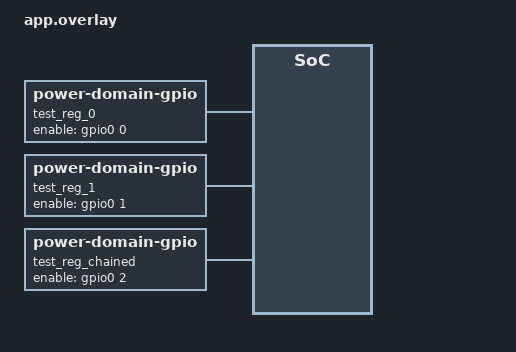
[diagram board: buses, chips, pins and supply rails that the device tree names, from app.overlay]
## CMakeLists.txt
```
# Copyright (c) 2022, CSIRO.
# SPDX-License-Identifier: Apache-2.0

cmake_minimum_required(VERSION 3.28.0)
find_package(Zephyr REQUIRED HINTS $ENV{ZEPHYR_BASE})
project(device_runtime_api)

target_sources(app PRIVATE src/main.c)
```

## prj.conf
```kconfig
# Copyright (c) 2022, Commonwealth Scientific and Industrial Research
# Organisation (CSIRO) ABN 41 687 119 230.
CONFIG_ZTEST=y
CONFIG_PM_DEVICE=y
CONFIG_PM_DEVICE_RUNTIME=y
CONFIG_PM_DEVICE_POWER_DOMAIN=y
CONFIG_MP_MAX_NUM_CPUS=1

CONFIG_GPIO=y
CONFIG_POWER_DOMAIN=y
```

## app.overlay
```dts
/ {
	test_reg_0: test_reg_0 {
		compatible = "power-domain-gpio";
		enable-gpios = <&gpio0 0 0>;
		#power-domain-cells = <0>;
	};

	test_reg_1: test_reg_1 {
		compatible = "power-domain-gpio";
		enable-gpios = <&gpio0 1 0>;
		#power-domain-cells = <0>;
	};

	test_reg_chained: test_reg_chained {
		compatible = "power-domain-gpio";
		enable-gpios = <&gpio0 2 0>;
		power-domains = <&test_reg_0>;
		#power-domain-cells = <0>;
	};

	test_dev: test_dev {
		compatible = "test-device-pm";
		power-domains = <&test_reg_1>;
		alternate-domain = <&test_reg_chained>;
		status = "okay";
	};
};
```

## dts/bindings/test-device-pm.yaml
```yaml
# Copyright (c) 2023, CSIRO
# SPDX-License-Identifier: Apache-2.0

include: [base.yaml, pm.yaml]

description: |
  This binding provides resources required to build and run the
  tests/subsys/pm/device_power_domains test in Zephyr.

compatible: "test-device-pm"

properties:
  alternate-domain:
    type: phandle
    description: Secondary domain the driver uses.
```

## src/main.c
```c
/*
 * Copyright (c) 2022, Commonwealth Scientific and Industrial Research
 * Organisation (CSIRO) ABN 41 687 119 230.
 *
 * SPDX-License-Identifier: Apache-2.0
 */

#include <zephyr/ztest.h>
#include <zephyr/pm/device.h>
#include <zephyr/pm/device_runtime.h>

static int dev_pm_control_resume_ret;
static int dev_pm_control_turn_on_ret;

static int dev_init(const struct device *dev)
{
	if (!pm_device_is_powered(dev)) {
		pm_device_init_off(dev);
	}
	return 0;
}

int dev_pm_control(const struct device *dev, enum pm_device_action action)
{
	ARG_UNUSED(dev);

	int ret = 0;

	switch (action) {
	case PM_DEVICE_ACTION_SUSPEND:
		break;
	case PM_DEVICE_ACTION_RESUME:
		ret = dev_pm_control_resume_ret;
		break;
	case PM_DEVICE_ACTION_TURN_ON:
		ret = dev_pm_control_turn_on_ret;
		break;
	case PM_DEVICE_ACTION_TURN_OFF:
		break;
	default:
		ret = -ENOTSUP;
		break;
	}

	return ret;
}

PM_DEVICE_DT_DEFINE(DT_NODELABEL(test_dev), dev_pm_control);
DEVICE_DT_DEFINE(DT_NODELABEL(test_dev), dev_init, PM_DEVICE_DT_GET(DT_NODELABEL(test_dev)),
		 NULL, NULL, POST_KERNEL, 80, NULL);

ZTEST(device_power_domain, test_device_power_domain)
{
	const struct device *const reg_0 = DEVICE_DT_GET(DT_NODELABEL(test_reg_0));
	const struct device *const reg_1 = DEVICE_DT_GET(DT_NODELABEL(test_reg_1));
	const struct device *const reg_chained = DEVICE_DT_GET(DT_NODELABEL(test_reg_chained));
	const struct device *const dev = DEVICE_DT_GET(DT_NODELABEL(test_dev));
	enum pm_device_state state;

	/* Initial power state */
	zassert_true(pm_device_is_powered(reg_0), "");
	zassert_true(pm_device_is_powered(reg_1), "");
	zassert_true(pm_device_is_powered(reg_chained), "");
	zassert_true(pm_device_is_powered(dev), "");

	TC_PRINT("Enabling runtime power management on regulators\n");

	pm_device_runtime_enable(dev);
	pm_device_runtime_enable(reg_chained);
	pm_device_runtime_enable(reg_1);
	pm_device_runtime_enable(reg_0);

	/* Power domains should now be suspended */
	zassert_true(pm_device_is_powered(reg_0), "");
	zassert_true(pm_device_is_powered(reg_1), "");
	zassert_false(pm_device_is_powered(reg_chained), "");
	zassert_false(pm_device_is_powered(dev), "");
	pm_device_state_get(dev, &state);
	zassert_equal(PM_DEVICE_STATE_OFF, state, "");

	TC_PRINT("Cycling: %s\n", reg_0->name);

	/* reg_chained is powered off reg_0, so it's power state should change */
	pm_device_runtime_get(reg_0);
	zassert_true(pm_device_is_powered(reg_chained), "");
	zassert_false(pm_device_is_powered(dev), "");
	pm_device_runtime_put(reg_0);
	zassert_false(pm_device_is_powered(reg_chained), "");

	TC_PRINT("Cycling: %s\n", reg_1->name);

	pm_device_runtime_get(reg_1);
	zassert_false(pm_device_is_powered(reg_chained), "");
	zassert_true(pm_device_is_powered(dev), "");
	/* dev is on reg_1, should have automatically moved to suspended */
	pm_device_state_get(dev, &state);
	zassert_equal(PM_DEVICE_STATE_SUSPENDED, state, "");
	pm_device_runtime_put(reg_1);
	pm_device_state_get(dev, &state);
	zassert_equal(PM_DEVICE_STATE_OFF, state, "");

	TC_PRINT("Cycling: %s\n", reg_chained->name);

	/* reg_chained should be powered after being requested */
	pm_device_runtime_get(reg_chained);
	zassert_true(pm_device_is_powered(reg_chained), "");
	zassert_false(pm_device_is_powered(dev), "");
	/* dev is not on reg_chained but does reference it, should still be in OFF */
	pm_device_state_get(dev, &state);
	zassert_equal(PM_DEVICE_STATE_OFF, state, "");
	pm_device_runtime_put(reg_chained);

	TC_PRINT("Requesting dev: %s\n", dev->name);

	/* Directly request the supported device */
	pm_device_runtime_get(dev);
	zassert_true(pm_device_is_powered(dev), "");
	pm_device_state_get(dev, &state);
	zassert_equal(PM_DEVICE_STATE_ACTIVE, state, "");
	pm_device_state_get(reg_1, &state);
	zassert_equal(PM_DEVICE_STATE_ACTIVE, state, "");
	pm_device_state_get(reg_chained, &state);
	zassert_equal(PM_DEVICE_STATE_OFF, state, "");
	/* Directly release the supported device */
	pm_device_runtime_put(dev);
	zassert_false(pm_device_is_powered(dev), "");
	pm_device_state_get(dev, &state);
	zassert_equal(PM_DEVICE_STATE_OFF, state, "");
	pm_device_state_get(reg_1, &state);
	zassert_equal(PM_DEVICE_STATE_SUSPENDED, state, "");
	pm_device_state_get(reg_chained, &state);
	zassert_equal(PM_DEVICE_STATE_OFF, state, "");

	/* Directly request the supported device multiple times */
	pm_device_runtime_get(dev);
	pm_device_runtime_get(dev);
	pm_device_runtime_get(dev);
	/* Directly release the supported device the first time, check all still powered */
	pm_device_runtime_put(dev);
	zassert_true(pm_device_is_powered(dev), "");
	pm_device_state_get(dev, &state);
	zassert_equal(PM_DEVICE_STATE_ACTIVE, state, "");
	pm_device_state_get(reg_1, &state);
	zassert_equal(PM_DEVICE_STATE_ACTIVE, state, "");
	/* Release the supported device the twice using async */
	zassert_ok(pm_device_runtime_put_async(dev, K_SECONDS(1)));
	zassert_ok(pm_device_runtime_put_async(dev, K_SECONDS(1)));
	k_sleep(K_SECONDS(2));
	/* Check all off */
	zassert_false(pm_device_is_powered(dev), "");
	pm_device_state_get(dev, &state);
	zassert_equal(PM_DEVICE_STATE_OFF, state, "");
	pm_device_state_get(reg_1, &state);
	zassert_equal(PM_DEVICE_STATE_SUSPENDED, state, "");

	/* Directly request the supported device but turn on fails */
	dev_pm_control_turn_on_ret = -EBUSY;
	pm_device_runtime_get(dev);
	dev_pm_control_turn_on_ret = 0;
	zassert_false(pm_device_is_powered(dev), "");
	pm_device_state_get(dev, &state);
	zassert_equal(PM_DEVICE_STATE_OFF, state, "");
	pm_device_state_get(reg_1, &state);
	zassert_equal(PM_DEVICE_STATE_SUSPENDED, state, "");
	pm_device_state_get(reg_chained, &state);
	zassert_equal(PM_DEVICE_STATE_OFF, state, "");

	/* Directly request the supported device but resume fails */
	dev_pm_control_resume_ret = -EBUSY;
	pm_device_runtime_get(dev);
	dev_pm_control_resume_ret = 0;
	zassert_false(pm_device_is_powered(dev), "");
	pm_device_state_get(dev, &state);
	zassert_equal(PM_DEVICE_STATE_OFF, state, "");
	pm_device_state_get(reg_1, &state);
	zassert_equal(PM_DEVICE_STATE_SUSPENDED, state, "");
	pm_device_state_get(reg_chained, &state);
	zassert_equal(PM_DEVICE_STATE_OFF, state, "");

	TC_PRINT("DONE\n");
}

ZTEST_SUITE(device_power_domain, NULL, NULL, NULL, NULL, NULL);
```
